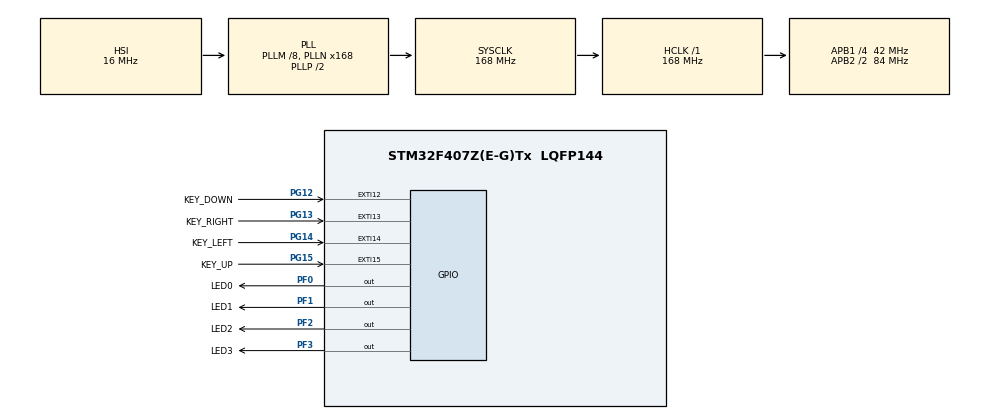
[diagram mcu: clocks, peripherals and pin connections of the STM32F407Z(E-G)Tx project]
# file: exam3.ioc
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Mcu.Family=STM32F4
Mcu.Name=STM32F407Z(E-G)Tx
Mcu.Package=LQFP144
NVIC.EXTI15_10_IRQn=true\:1\:0\:true\:false\:true\:true\:true\:true
NVIC.PriorityGroup=NVIC_PRIORITYGROUP_4
PF0.GPIO_Label=LED0
PF0.GPIO_ModeDefaultOutputPP=GPIO_MODE_OUTPUT_PP
PF0.GPIO_PuPd=GPIO_NOPULL
PF0.GPIO_Speed=GPIO_SPEED_FREQ_LOW
PF0.PinState=GPIO_PIN_SET
PF0.Signal=GPIO_Output
PF1.GPIO_Label=LED1
PF1.GPIO_ModeDefaultOutputPP=GPIO_MODE_OUTPUT_PP
PF1.GPIO_PuPd=GPIO_NOPULL
PF1.GPIO_Speed=GPIO_SPEED_FREQ_LOW
PF1.PinState=GPIO_PIN_SET
PF1.Signal=GPIO_Output
PF2.GPIO_Label=LED2
PF2.GPIO_ModeDefaultOutputPP=GPIO_MODE_OUTPUT_PP
PF2.GPIO_PuPd=GPIO_NOPULL
PF2.GPIO_Speed=GPIO_SPEED_FREQ_LOW
PF2.PinState=GPIO_PIN_SET
PF2.Signal=GPIO_Output
PF3.GPIO_Label=LED3
PF3.GPIO_ModeDefaultOutputPP=GPIO_MODE_OUTPUT_PP
PF3.GPIO_PuPd=GPIO_NOPULL
PF3.GPIO_Speed=GPIO_SPEED_FREQ_LOW
PF3.PinState=GPIO_PIN_SET
PF3.Signal=GPIO_Output
PG12.GPIO_Label=KEY_DOWN
PG12.GPIO_ModeDefaultEXTI=GPIO_MODE_IT_FALLING
PG12.Signal=GPXTI12
PG13.GPIO_Label=KEY_RIGHT
PG13.GPIO_ModeDefaultEXTI=GPIO_MODE_IT_FALLING
PG13.Signal=GPXTI13
PG14.GPIO_Label=KEY_LEFT
PG14.GPIO_ModeDefaultEXTI=GPIO_MODE_IT_FALLING
PG14.Signal=GPXTI14
PG15.GPIO_Label=KEY_UP
PG15.GPIO_ModeDefaultEXTI=GPIO_MODE_IT_FALLING
PG15.Signal=GPXTI15
PH0-OSC_IN.Mode=HSE-External-Oscillator
PH0-OSC_IN.Signal=RCC_OSC_IN
PH1-OSC_OUT.Mode=HSE-External-Oscillator
PH1-OSC_OUT.Signal=RCC_OSC_OUT
ProjectManager.HeapSize=0x200
ProjectManager.StackSize=0x400
ProjectManager.TargetToolchain=MDK-ARM V5
RCC.48MHZClocksFreq_Value=84000000
RCC.AHBFreq_Value=168000000
RCC.APB1CLKDivider=RCC_HCLK_DIV4
RCC.APB1Freq_Value=42000000
RCC.APB1TimFreq_Value=84000000
RCC.APB2CLKDivider=RCC_HCLK_DIV2
RCC.APB2Freq_Value=84000000
RCC.APB2TimFreq_Value=168000000
RCC.CortexFreq_Value=168000000
RCC.HCLKFreq_Value=168000000
RCC.HSE_VALUE=25000000
RCC.HSI_VALUE=16000000
RCC.LSE_VALUE=32768
RCC.PLLM=8
RCC.PLLN=168
RCC.SYSCLKFreq_VALUE=168000000
RCC.SYSCLKSource=RCC_SYSCLKSOURCE_PLLCLK
RCC.VCOOutputFreq_Value=336000000
board=custom

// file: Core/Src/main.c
/* USER CODE BEGIN Header */
/**
  ******************************************************************************
  * @file           : main.c
  * @brief          : Main program body
  ******************************************************************************
  * @attention
  *
  * Copyright (c) 2022 STMicroelectronics.
  * All rights reserved.
  *
  * This software is licensed under terms that can be found in the LICENSE file
  * in the root directory of this software component.
  * If no LICENSE file comes with this software, it is provided AS-IS.
  *
  ******************************************************************************
  */
/* USER CODE END Header */
#include "main.h"

void SystemClock_Config(void);
static void MX_GPIO_Init(void);
/* USER CODE BEGIN PFP */
void HAL_GPIO_EXTI_Callback(uint16_t GPIO_Pin)
{
  /* Prevent unused argument(s) compilation warning */
  if(GPIO_Pin==KEY_UP_Pin){
//		HAL_Delay(10);
		if(HAL_GPIO_ReadPin(KEY_UP_GPIO_Port,KEY_UP_Pin)==GPIO_PIN_RESET){
			HAL_GPIO_WritePin(LED0_GPIO_Port,LED0_Pin,GPIO_PIN_RESET);
			HAL_GPIO_WritePin(LED1_GPIO_Port,LED1_Pin,GPIO_PIN_SET);
			HAL_GPIO_WritePin(LED2_GPIO_Port,LED2_Pin,GPIO_PIN_SET);
			HAL_GPIO_WritePin(LED3_GPIO_Port,LED3_Pin,GPIO_PIN_SET);
		}
	}
	else if(GPIO_Pin==KEY_DOWN_Pin){
//		HAL_Delay(10);
		if(HAL_GPIO_ReadPin(KEY_DOWN_GPIO_Port,KEY_DOWN_Pin)==GPIO_PIN_RESET){
			HAL_GPIO_WritePin(LED0_GPIO_Port,LED0_Pin,GPIO_PIN_SET);
			HAL_GPIO_WritePin(LED1_GPIO_Port,LED1_Pin,GPIO_PIN_RESET);
			HAL_GPIO_WritePin(LED2_GPIO_Port,LED2_Pin,GPIO_PIN_SET);
			HAL_GPIO_WritePin(LED3_GPIO_Port,LED3_Pin,GPIO_PIN_SET);
		}
	}
	else if(GPIO_Pin==KEY_LEFT_Pin){
		//HAL_Delay(10);
		if(HAL_GPIO_ReadPin(KEY_LEFT_GPIO_Port,KEY_LEFT_Pin)==GPIO_PIN_RESET){
			HAL_GPIO_WritePin(LED0_GPIO_Port,LED0_Pin,GPIO_PIN_SET);
			HAL_GPIO_WritePin(LED1_GPIO_Port,LED1_Pin,GPIO_PIN_SET);
			HAL_GPIO_WritePin(LED2_GPIO_Port,LED2_Pin,GPIO_PIN_RESET);
			HAL_GPIO_WritePin(LED3_GPIO_Port,LED3_Pin,GPIO_PIN_SET);
		}
	}
	else if(GPIO_Pin==KEY_RIGHT_Pin){
//////		HAL_Delay(10);
		if(HAL_GPIO_ReadPin(KEY_RIGHT_GPIO_Port,KEY_RIGHT_Pin)==GPIO_PIN_RESET){
			HAL_GPIO_WritePin(LED0_GPIO_Port,LED0_Pin,GPIO_PIN_SET);
			HAL_GPIO_WritePin(LED1_GPIO_Port,LED1_Pin,GPIO_PIN_SET);
			HAL_GPIO_WritePin(LED2_GPIO_Port,LED2_Pin,GPIO_PIN_SET);
			HAL_GPIO_WritePin(LED3_GPIO_Port,LED3_Pin,GPIO_PIN_RESET);
		}
	}
  /* NOTE: This function Should not be modified, when the callback is needed,
           the HAL_GPIO_EXTI_Callback could be implemented in the user file
   */
}
/* USER CODE END PFP */

int main(void)
{

  /* MCU Configuration--------------------------------------------------------*/

  /* Reset of all peripherals, Initializes the Flash interface and the Systick. */
  HAL_Init();

  /* Configure the system clock */
  SystemClock_Config();

  /* Initialize all configured peripherals */
  MX_GPIO_Init();

  /* Infinite loop */
  while (1)
  {
//		HAL_Delay(100);
//		HAL_GPIO_WritePin(LED0_GPIO_Port,LED0_Pin,GPIO_PIN_SET);
//			HAL_GPIO_WritePin(LED1_GPIO_Port,LED1_Pin,GPIO_PIN_SET);
//			HAL_GPIO_WritePin(LED2_GPIO_Port,LED2_Pin,GPIO_PIN_SET);
//			HAL_GPIO_WritePin(LED3_GPIO_Port,LED3_Pin,GPIO_PIN_SET);
  }
}

void SystemClock_Config(void)
{
  RCC_OscInitTypeDef RCC_OscInitStruct = {0};
  RCC_ClkInitTypeDef RCC_ClkInitStruct = {0};

  /** Configure the main internal regulator output voltage
  */
  __HAL_RCC_PWR_CLK_ENABLE();
  __HAL_PWR_VOLTAGESCALING_CONFIG(PWR_REGULATOR_VOLTAGE_SCALE1);

  /** Initializes the RCC Oscillators according to the specified parameters
  * in the RCC_OscInitTypeDef structure.
  */
  RCC_OscInitStruct.OscillatorType = RCC_OSCILLATORTYPE_HSI;
  RCC_OscInitStruct.HSIState = RCC_HSI_ON;
  RCC_OscInitStruct.HSICalibrationValue = RCC_HSICALIBRATION_DEFAULT;
  RCC_OscInitStruct.PLL.PLLState = RCC_PLL_ON;
  RCC_OscInitStruct.PLL.PLLSource = RCC_PLLSOURCE_HSI;
  RCC_OscInitStruct.PLL.PLLM = 8;
  RCC_OscInitStruct.PLL.PLLN = 168;
  RCC_OscInitStruct.PLL.PLLP = RCC_PLLP_DIV2;
  RCC_OscInitStruct.PLL.PLLQ = 4;
  if (HAL_RCC_OscConfig(&RCC_OscInitStruct) != HAL_OK)
  {
    Error_Handler();
  }

  /** Initializes the CPU, AHB and APB buses clocks
  */
  RCC_ClkInitStruct.ClockType = RCC_CLOCKTYPE_HCLK|RCC_CLOCKTYPE_SYSCLK
                              |RCC_CLOCKTYPE_PCLK1|RCC_CLOCKTYPE_PCLK2;
  RCC_ClkInitStruct.SYSCLKSource = RCC_SYSCLKSOURCE_PLLCLK;
  RCC_ClkInitStruct.AHBCLKDivider = RCC_SYSCLK_DIV1;
  RCC_ClkInitStruct.APB1CLKDivider = RCC_HCLK_DIV4;
  RCC_ClkInitStruct.APB2CLKDivider = RCC_HCLK_DIV2;

  if (HAL_RCC_ClockConfig(&RCC_ClkInitStruct, FLASH_LATENCY_5) != HAL_OK)
  {
    Error_Handler();
  }
}

static void MX_GPIO_Init(void)
{
  GPIO_InitTypeDef GPIO_InitStruct = {0};

  /* GPIO Ports Clock Enable */
  __HAL_RCC_GPIOF_CLK_ENABLE();
  __HAL_RCC_GPIOH_CLK_ENABLE();
  __HAL_RCC_GPIOG_CLK_ENABLE();

  /*Configure GPIO pin Output Level */
  HAL_GPIO_WritePin(GPIOF, LED0_Pin|LED1_Pin|LED2_Pin|LED3_Pin, GPIO_PIN_SET);

  /*Configure GPIO pins : LED0_Pin LED1_Pin LED2_Pin LED3_Pin */
  GPIO_InitStruct.Pin = LED0_Pin|LED1_Pin|LED2_Pin|LED3_Pin;
  GPIO_InitStruct.Mode = GPIO_MODE_OUTPUT_PP;
  GPIO_InitStruct.Pull = GPIO_NOPULL;
  GPIO_InitStruct.Speed = GPIO_SPEED_FREQ_LOW;
  HAL_GPIO_Init(GPIOF, &GPIO_InitStruct);

  /*Configure GPIO pins : KEY_DOWN_Pin KEY_RIGHT_Pin KEY_LEFT_Pin KEY_UP_Pin */
  GPIO_InitStruct.Pin = KEY_DOWN_Pin|KEY_RIGHT_Pin|KEY_LEFT_Pin|KEY_UP_Pin;
  GPIO_InitStruct.Mode = GPIO_MODE_IT_FALLING;
  GPIO_InitStruct.Pull = GPIO_NOPULL;
  HAL_GPIO_Init(GPIOG, &GPIO_InitStruct);

  /* EXTI interrupt init*/
  HAL_NVIC_SetPriority(EXTI15_10_IRQn, 1, 0);
  HAL_NVIC_EnableIRQ(EXTI15_10_IRQn);

}

void Error_Handler(void)
{
  __disable_irq();
  while (1)
  {
  }
}
